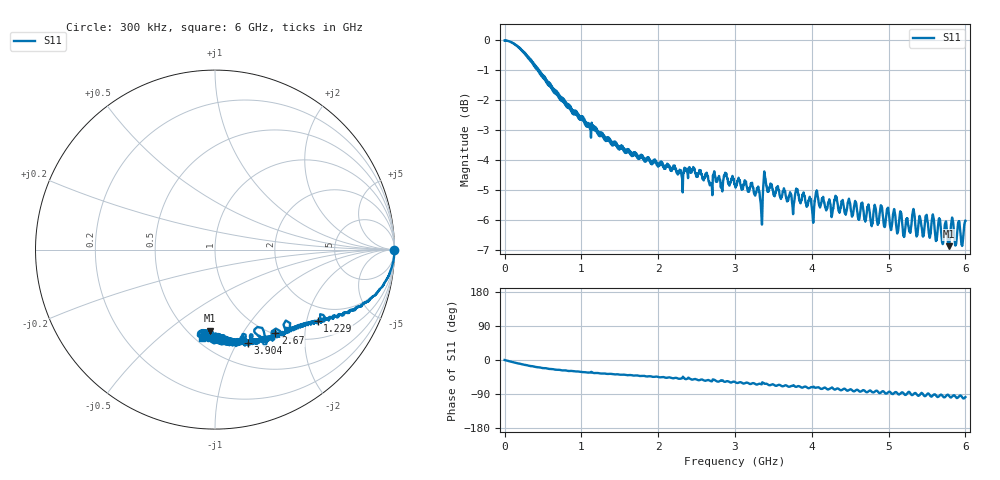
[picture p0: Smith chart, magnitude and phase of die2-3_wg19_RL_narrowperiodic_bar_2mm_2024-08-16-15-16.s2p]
!Keysight Technologies,P9374A,MY57304198,A.17.20.09
!Date: Friday, August 16, 2024 15:16:59
!Correction: S11(C  1-Port  )
!S21(C  1-Port  )
!S12(Off)
!S22(Off)
!S2P File: Measurements: S11, S21, S12, S22:
# Hz S  dB  R 50
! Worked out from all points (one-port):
!   6000 points, 300 kHz to 6 GHz, reference 50 ohm
!   lowest |S11| = -6.9 dB at 5.784 GHz (marker M1), VSWR 2.65, Z = 31.6 - j35.8 ohm
!   |S11| at or under -10 dB: nowhere
!   S11 on the Smith chart (normalised r, x): 300 kHz: open; 1.229 GHz: 1.50, -2.33; 2.67 GHz: 1.02, -1.42; 3.904 GHz: 0.75, -1.11; 6 GHz: 0.54, -0.71
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300000  -0.00 -0.0  -200.00 45.0  -200.00 45.0  -200.00 45.0
2.40328e8  -0.35 -11.7  -200.00 45.0  -200.00 45.0  -200.00 45.0
4.183488e8  -0.90 -18.7  -200.00 45.0  -200.00 45.0  -200.00 45.0
1.000417e9  -2.63 -31.8  -200.00 45.0  -200.00 45.0  -200.00 45.0
1.229443e9  -3.13 -34.9  -200.00 45.0  -200.00 45.0  -200.00 45.0
2.000533e9  -4.21 -44.8  -200.00 45.0  -200.00 45.0  -200.00 45.0
2.669611e9  -4.82 -54.2  -200.00 45.0  -200.00 45.0  -200.00 45.0
2.735619e9  -4.48 -52.9  -200.00 45.0  -200.00 45.0  -200.00 45.0
3.00065e9  -4.84 -58.2  -200.00 45.0  -200.00 45.0  -200.00 45.0
3.291684e9  -4.95 -64.5  -200.00 45.0  -200.00 45.0  -200.00 45.0
3.34069e9  -5.66 -64.1  -200.00 45.0  -200.00 45.0  -200.00 45.0
3.401697e9  -4.75 -62.5  -200.00 45.0  -200.00 45.0  -200.00 45.0
3.528712e9  -5.10 -67.9  -200.00 45.0  -200.00 45.0  -200.00 45.0
3.903755e9  -5.20 -70.4  -200.00 45.0  -200.00 45.0  -200.00 45.0
4.000767e9  -5.59 -71.5  -200.00 45.0  -200.00 45.0  -200.00 45.0
4.310803e9  -5.23 -77.4  -200.00 45.0  -200.00 45.0  -200.00 45.0
5.000883e9  -5.76 -84.0  -200.00 45.0  -200.00 45.0  -200.00 45.0
5.217909e9  -6.28 -92.2  -200.00 45.0  -200.00 45.0  -200.00 45.0
5.263914e9  -6.30 -83.8  -200.00 45.0  -200.00 45.0  -200.00 45.0
5.640958e9  -6.29 -97.6  -200.00 45.0  -200.00 45.0  -200.00 45.0
5.783975e9  -6.89 -93.5  -200.00 45.0  -200.00 45.0  -200.00 45.0
6e9  -6.03 -97.8  -200.00 45.0  -200.00 45.0  -200.00 45.0
